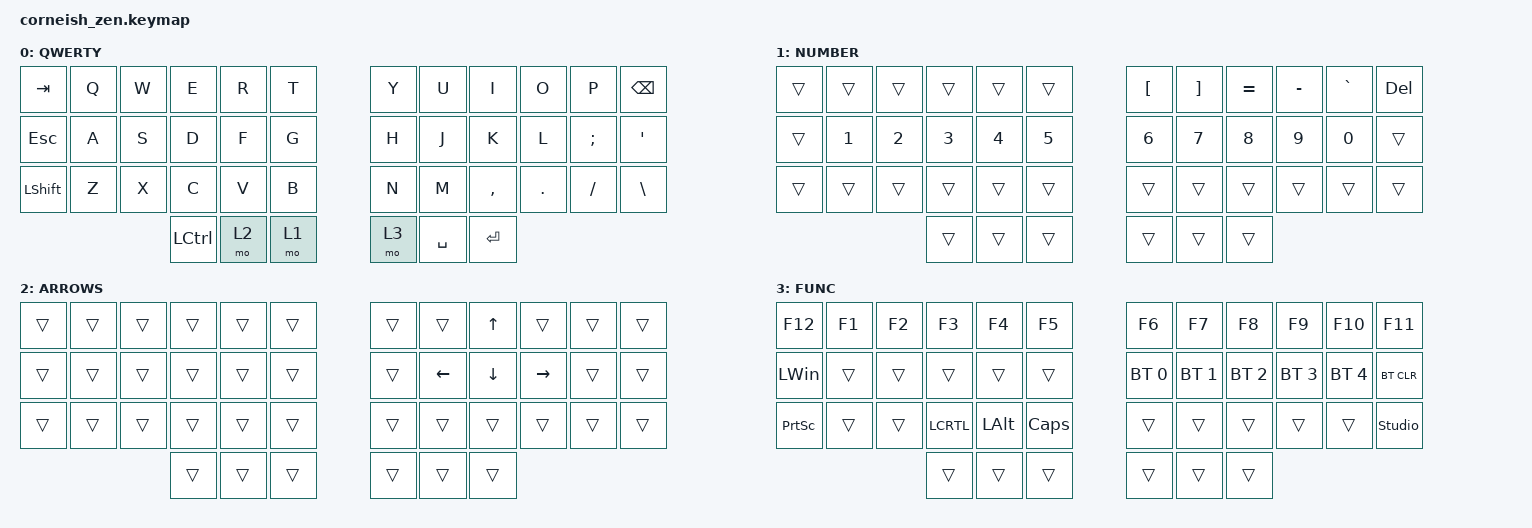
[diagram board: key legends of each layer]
#include <behaviors.dtsi>
#include <dt-bindings/zmk/keys.h>
#include <dt-bindings/zmk/bt.h>

/ {
  chosen {
    zmk,physical-layout = &foostan_corne_6col_layout;
    //zmk,physical-layout = &foostan_corne_5col_layout;
  };
};

/ {
        keymap {
                compatible = "zmk,keymap";

                default_layer {
                        display-name = "QWERTY";
// -----------------------------------------------------------------------------------------
// |  TAB |  Q  |  W  |  E  |  R  |  T  |   |  Y  |  U   |  I  |  O  |  P  | BSPC |
// |  ESC |  A  |  S  |  D  |  F  |  G  |   |  H  |  J   |  K  |  L  |  ;  |  '   |
// | SHFT |  Z  |  X  |  C  |  V  |  B  |   |  N  |  M   |  ,  |  .  |  /  |  \   |
//                    |CTRL | L2  | L1  |   | L3  | SPC  | ENT |
                        bindings = <
   &kp TAB   &kp Q &kp W &kp E &kp R &kp T   &kp Y &kp U  &kp I     &kp O   &kp P    &kp BSPC
   &kp ESC   &kp A &kp S &kp D &kp F &kp G   &kp H &kp J  &kp K     &kp L   &kp SEMI &kp SQT
   &kp LSHFT &kp Z &kp X &kp C &kp V &kp B   &kp N &kp M  &kp COMMA &kp DOT &kp FSLH &kp BSLH
                     &kp LCTRL &mo 2 &mo 1   &mo 3 &kp SPACE &kp RET
                        >;
                };
                lower_layer {
                        display-name = "NUMBER";   
// -----------------------------------------------------------------------------------------
// |      |     |     |     |     |     |   | {[  | }]  | +=  | -_  |  `  |  DEL |
// |      |  1  |  2  |  3  |  4  |  5  |   |  6  |  7  |  8  |  9  |  0  |      |
// |      |     |     |     |     |     |   |     |     |     |     |     |      |
//                    |     |     |     |   |     |     |     |
                        bindings = <
   &trans  &trans  &trans  &trans  &trans  &trans  &kp LBKT &kp RBKT  &kp EQUAL  &kp MINUS  &kp GRAVE  &kp DEL
   &trans  &kp N1  &kp N2  &kp N3  &kp N4  &kp N5  &kp N6   &kp N7    &kp N8     &kp N9     &kp N0  &trans
   &trans  &trans  &trans  &trans  &trans  &trans  &trans   &trans    &trans     &trans     &trans  &trans
                           &trans  &trans  &trans  &trans   &trans    &trans
                        >;
                };

                raise_layer {
                        display-name = "ARROWS";
// -----------------------------------------------------------------------------------------
// |      |     |     |     |     |     |   |     |     | UP  |     |     |      |
// |      |     |     |     |     |     |   |     | LFT | DWN | RGHT|     |      |
// |      |     |     |     |     |     |   |     |     |     |     |     |      |
//                    |     |     |     |   |     |     |     |
                        bindings = <
   &trans  &trans  &trans  &trans  &trans  &trans  &trans  &trans    &kp UP   &trans    &trans  &trans
   &trans  &trans  &trans  &trans  &trans  &trans  &trans  &kp LEFT  &kp DOWN &kp RIGHT &trans  &trans
   &trans  &trans  &trans  &trans  &trans  &trans  &trans  &trans    &trans   &trans    &trans  &trans
                           &trans  &trans  &trans  &trans  &trans    &trans
                        >;
                };

                function_layer {
                        label = "FUNC";   
// -----------------------------------------------------------------------------------------
// | F12  |  F1 |  F2 |  F3 |  F4 |  F5 |   |  F6 |  F7 |  F8 |  F9 | F10 | F11  |
// | WIN  |     |     |     |     |     |   | BT1 | BT2 | BT3 | BT4 | BT5 |BTCLR |
// | PRINT|     |     | CRTL| ALT | CAPS|   |     |     |     |     |     |STUDIO|
//                    |     |     |     |   |     |     |     |
                        bindings = <
   &kp F12   &kp F1  &kp F2  &kp F3    &kp F4   &kp F5     &kp F6  &kp F7  &kp F8  &kp F9  &kp F10  &kp F11
   &kp LWIN  &trans  &trans  &trans    &trans   &trans     &bt BT_SEL 0 &bt BT_SEL 1 &bt BT_SEL 2 &bt BT_SEL 3 &bt BT_SEL 4 &bt BT_CLR
   &kp PSCRN &trans  &trans  &kp LCRTL &kp LALT &kp CAPS   &trans  &trans  &trans  &trans  &trans   &studio_unlock
                             &trans    &trans   &trans     &trans  &trans  &trans
                        >;
                };
        };
};
